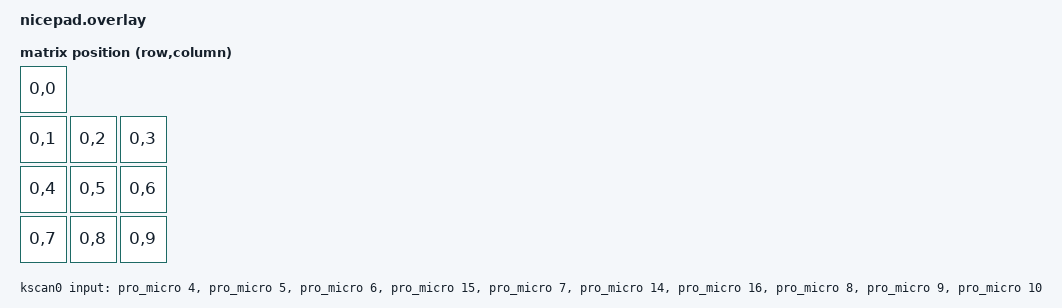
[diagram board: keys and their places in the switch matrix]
#include <dt-bindings/pinctrl/nrf-pinctrl.h>
#include <dt-bindings/i2c/i2c.h>
#include <dt-bindings/zmk/matrix_transform.h>
#include <physical_layouts.dtsi>

/ {
    chosen {
        zephyr,display = &oled;
        zmk,kscan = &kscan0;
        zmk,physical-layout = &physical_layout0;
    };

    kscan0: kscan {
        compatible = "zmk,kscan-gpio-direct";
        wakeup-source;
        input-gpios
            = <&pro_micro 4 (GPIO_ACTIVE_LOW | GPIO_PULL_UP)>  /* [0,0] */
            , <&pro_micro 5 (GPIO_ACTIVE_LOW | GPIO_PULL_UP)>  /* [1,0] */
            , <&pro_micro 6 (GPIO_ACTIVE_LOW | GPIO_PULL_UP)>  /* [1,1] */
            , <&pro_micro 15 (GPIO_ACTIVE_LOW | GPIO_PULL_UP)> /* [1,2] */
            , <&pro_micro 7 (GPIO_ACTIVE_LOW | GPIO_PULL_UP)>  /* [2,0] */
            , <&pro_micro 14 (GPIO_ACTIVE_LOW | GPIO_PULL_UP)> /* [2,1] */
            , <&pro_micro 16 (GPIO_ACTIVE_LOW | GPIO_PULL_UP)> /* [2,2] */
            , <&pro_micro 8 (GPIO_ACTIVE_LOW | GPIO_PULL_UP)>  /* [3,0] */
            , <&pro_micro 9 (GPIO_ACTIVE_LOW | GPIO_PULL_UP)>  /* [3,1] */
            , <&pro_micro 10 (GPIO_ACTIVE_LOW | GPIO_PULL_UP)> /* [3,2] */
            ;
    };

    default_transform: keymap_transform {
        compatible = "zmk,matrix-transform";
        columns = <10>;
        rows = <1>;
        map = <
            RC(0,0)
            RC(0,1) RC(0,2) RC(0,3)
            RC(0,4) RC(0,5) RC(0,6)
            RC(0,7) RC(0,8) RC(0,9)
        >;
    };

    physical_layout0: physical_layout_0 {
        compatible = "zmk,physical-layout";
        display-name = "Default";
        kscan = <&kscan0>;
        transform = <&default_transform>;
        keys
            = <&key_physical_attrs 100 100   0   0 0 0 0>
            , <&key_physical_attrs 100 100   0 100 0 0 0>
            , <&key_physical_attrs 100 100 100 100 0 0 0>
            , <&key_physical_attrs 100 100 200 100 0 0 0>
            , <&key_physical_attrs 100 100   0 200 0 0 0>
            , <&key_physical_attrs 100 100 100 200 0 0 0>
            , <&key_physical_attrs 100 100 200 200 0 0 0>
            , <&key_physical_attrs 100 100   0 300 0 0 0>
            , <&key_physical_attrs 100 100 100 300 0 0 0>
            , <&key_physical_attrs 100 100 200 300 0 0 0>
            ;
    };
};

&i2c0_default {
    group1 {
        psels = <NRF_PSEL(TWIM_SDA, 0, 17)>, /* nice!nano D2 / P0.17 */
            <NRF_PSEL(TWIM_SCL, 0, 20)>;     /* nice!nano D3 / P0.20 */
        bias-pull-up;
    };
};

&i2c0_sleep {
    group1 {
        psels = <NRF_PSEL(TWIM_SDA, 0, 17)>,
            <NRF_PSEL(TWIM_SCL, 0, 20)>;
        low-power-enable;
    };
};

&pro_micro_i2c {
    status = "okay";
    clock-frequency = <I2C_BITRATE_STANDARD>;

    oled: ssd1306@3c {
        compatible = "solomon,ssd1306fb";
        reg = <0x3c>;
        width = <128>;
        height = <64>;
        segment-offset = <0>;
        page-offset = <0>;
        display-offset = <0>;
        multiplex-ratio = <63>;
        prechargep = <0x22>;
        segment-remap;
        com-invdir;
        inversion-on;
    };
};
